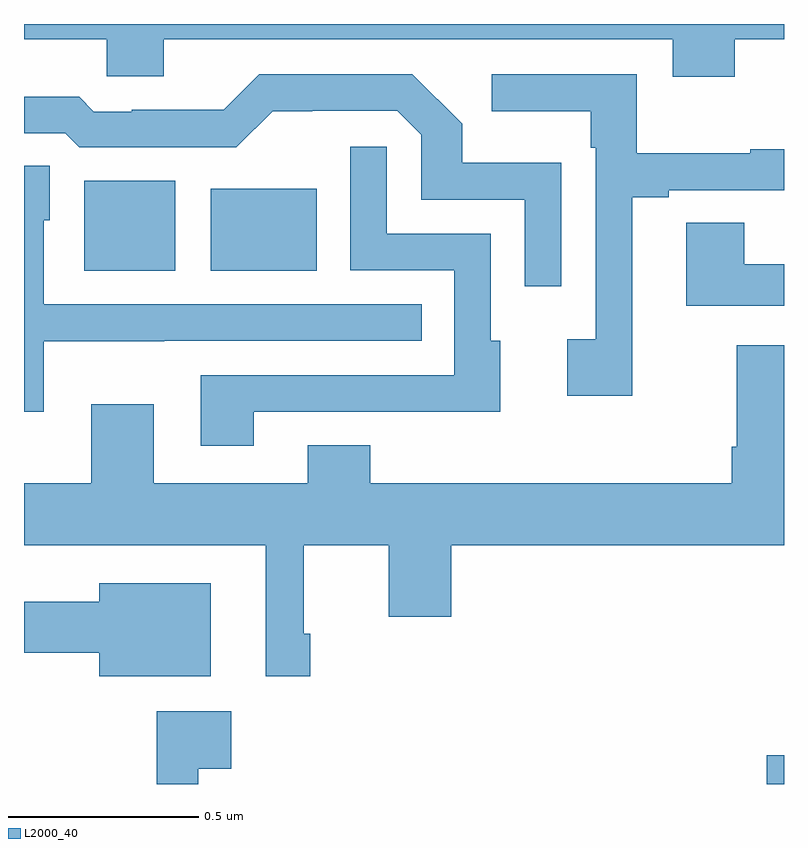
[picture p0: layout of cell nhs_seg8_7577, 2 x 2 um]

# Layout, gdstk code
import gdstk
lib = gdstk.Library(unit=1e-6, precision=1e-09)
def R(c, l, rs):  # rectangles x0, y0, x1, y1
    for r in rs: c.add(gdstk.rectangle(r[:2], r[2:], *l))
def P(c, l, *ps):  # polygons
    for p in ps: c.add(gdstk.Polygon(p, *l))
L2000_40 = (2000, 40)

nhs_seg8_7577 = lib.new_cell('nhs_seg8_7577')
R(nhs_seg8_7577, L2000_40, [(213.954,1087.9,214,1087.976), (212.159,1089.251,212.398,1089.487), (212.492,1089.251,212.77,1089.466)])
P(nhs_seg8_7577, L2000_40, [(213.871,1089.86),(214,1089.86),(214,1089.9),(212,1089.9),(212,1089.86),(212.218,1089.86),(212.218,1089.762),(212.368,1089.762),(212.368,1089.86),(213.707,1089.86),(213.707,1089.761),(213.871,1089.761)],
  [(213.601,1089.444),(213.697,1089.444),(213.697,1089.462),(214,1089.462),(214,1089.571),(213.911,1089.571),(213.911,1089.56),(213.613,1089.56),(213.613,1089.768),(213.231,1089.768),(213.231,1089.671),(213.492,1089.671),(213.492,1089.575),(213.504,1089.575),(213.504,1089.07),(213.429,1089.07),(213.429,1088.922),(213.601,1088.922)],
  [(213.414,1089.535),(213.153,1089.535),(213.153,1089.638),(213.022,1089.768),(212.619,1089.768),(212.525,1089.674),(212.284,1089.674),(212.284,1089.669),(212.184,1089.669),(212.145,1089.709),(212,1089.709),(212,1089.612),(212.109,1089.612),(212.145,1089.576),(212.559,1089.576),(212.654,1089.671),(212.758,1089.671),(212.758,1089.672),(212.982,1089.672),(213.045,1089.609),(213.045,1089.438),(213.318,1089.438),(213.318,1089.21),(213.414,1089.21)],
  [(212.605,1088.88),(213.035,1088.88),(213.035,1088.879),(213.253,1088.879),(213.253,1089.066),(213.228,1089.066),(213.228,1089.348),(212.955,1089.348),(212.955,1089.577),(212.859,1089.577),(212.859,1089.252),(213.132,1089.252),(213.132,1088.976),(212.465,1088.976),(212.465,1088.79),(212.605,1088.79)],
  [(212.052,1089.065),(212.369,1089.065),(212.369,1089.066),(213.047,1089.066),(213.047,1089.162),(212.052,1089.162),(212.052,1089.384),(212.068,1089.384),(212.068,1089.527),(212,1089.527),(212,1088.88),(212.052,1088.88)],
  [(214,1089.268),(213.895,1089.268),(213.895,1089.377),(213.743,1089.377),(213.743,1089.158),(214,1089.158)],
  [(212.753,1088.296),(212.736,1088.296),(212.736,1088.528),(212.96,1088.528),(212.96,1088.34),(213.124,1088.34),(213.124,1088.528),(214,1088.528),(214,1089.055),(213.875,1089.055),(213.875,1088.788),(213.863,1088.788),(213.863,1088.692),(212.911,1088.692),(212.911,1088.791),(212.747,1088.791),(212.747,1088.692),(212.341,1088.692),(212.341,1088.899),(212.177,1088.899),(212.177,1088.692),(212,1088.692),(212,1088.528),(212.636,1088.528),(212.636,1088.184),(212.753,1088.184)],
  [(212.491,1088.428),(212.198,1088.428),(212.198,1088.38),(212,1088.38),(212,1088.246),(212.198,1088.246),(212.198,1088.183),(212.491,1088.183)],
  [(212.459,1087.94),(212.545,1087.94),(212.545,1088.092),(212.349,1088.092),(212.349,1087.9),(212.459,1087.9)])

lib.write_gds('nhs_seg8_7577.gds')
